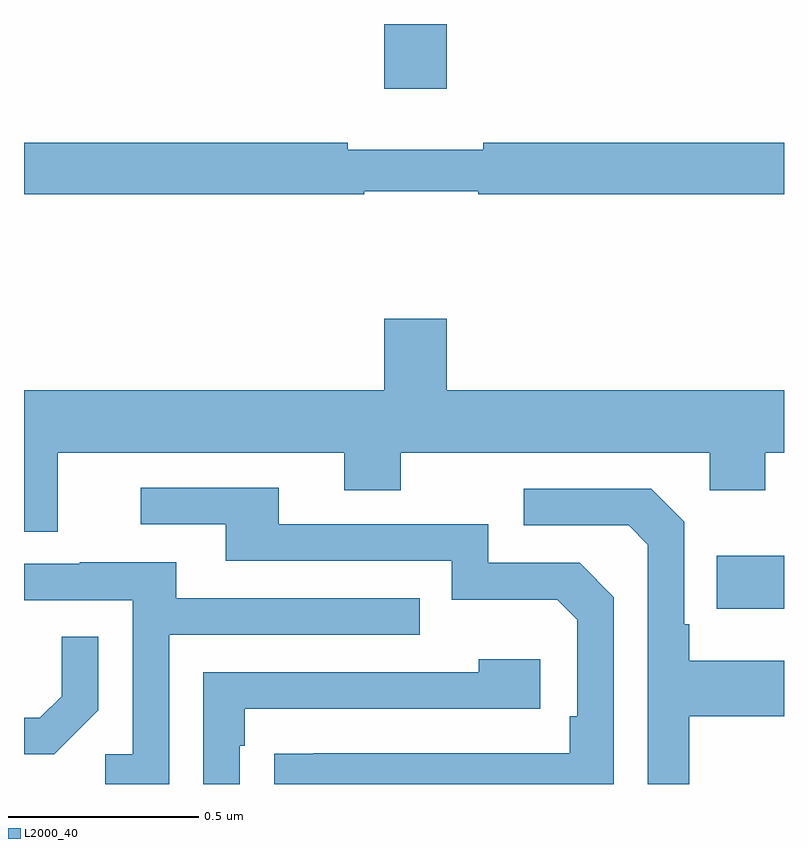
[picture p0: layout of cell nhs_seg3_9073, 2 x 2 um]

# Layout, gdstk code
import gdstk
lib = gdstk.Library(unit=1e-6, precision=1e-09)
def R(c, l, rs):  # rectangles x0, y0, x1, y1
    for r in rs: c.add(gdstk.rectangle(r[:2], r[2:], *l))
def P(c, l, *ps):  # polygons
    for p in ps: c.add(gdstk.Polygon(p, *l))
L2000_40 = (2000, 40)

nhs_seg3_9073 = lib.new_cell('nhs_seg3_9073')
R(nhs_seg3_9073, L2000_40, [(225.823,677.861,226,678.001), (224.948,679.23,225.112,679.4)])
P(nhs_seg3_9073, L2000_40, [(224.896,678.96),(225.196,678.96),(225.196,678.952),(226,678.952),(226,679.088),(225.208,679.088),(225.208,679.069),(224.852,679.069),(224.852,679.088),(224,679.088),(224,678.952),(224.896,678.952)],
  [(224.089,678.272),(224.843,678.272),(224.843,678.173),(224.991,678.173),(224.991,678.272),(225.804,678.272),(225.804,678.173),(225.951,678.173),(225.951,678.272),(226,678.272),(226,678.436),(225.112,678.436),(225.112,678.625),(224.948,678.625),(224.948,678.436),(224,678.436),(224,678.064),(224.089,678.064)],
  [(225.552,677.892),(225.462,677.982),(225.222,677.982),(225.222,678.084),(224.671,678.084),(224.671,678.18),(224.307,678.18),(224.307,678.084),(224.531,678.084),(224.531,677.988),(225.126,677.988),(225.126,677.885),(225.403,677.885),(225.456,677.832),(225.456,677.578),(225.436,677.578),(225.436,677.481),(224.761,677.481),(224.761,677.48),(224.659,677.48),(224.659,677.4),(225.552,677.4)],
  [(225.751,677.578),(226,677.578),(226,677.725),(225.751,677.725),(225.751,677.821),(225.738,677.821),(225.738,678.09),(225.651,678.177),(225.315,678.177),(225.315,678.081),(225.591,678.081),(225.642,678.03),(225.642,677.4),(225.751,677.4)],
  [(224.382,677.793),(225.041,677.793),(225.041,677.889),(224.401,677.889),(224.401,677.983),(224.147,677.983),(224.147,677.979),(224,677.979),(224,677.883),(224.286,677.883),(224.286,677.478),(224.214,677.478),(224.214,677.4),(224.382,677.4)],
  [(224.196,677.594),(224.196,677.788),(224.099,677.788),(224.099,677.631),(224.042,677.574),(224,677.574),(224,677.478),(224.08,677.478)],
  [(224.568,677.501),(224.581,677.501),(224.581,677.598),(225.358,677.598),(225.358,677.728),(225.197,677.728),(225.197,677.694),(224.472,677.694),(224.472,677.4),(224.568,677.4)])

lib.write_gds('nhs_seg3_9073.gds')
